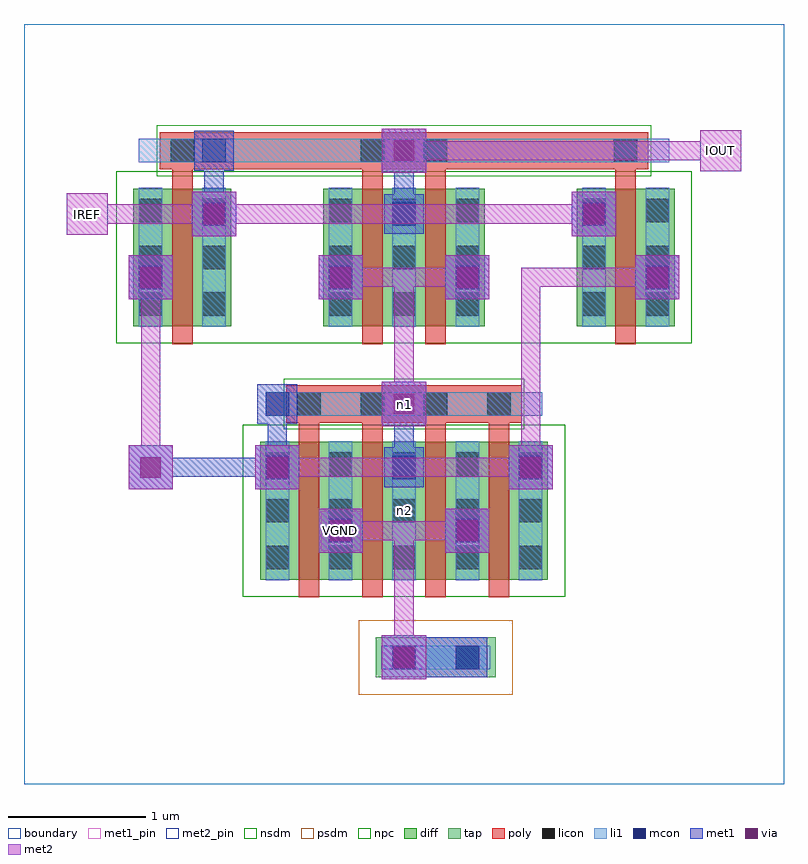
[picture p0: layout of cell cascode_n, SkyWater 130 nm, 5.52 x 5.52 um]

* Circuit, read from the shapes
.subckt cascode_n IOUT IREF VGND n1 n2
XM1 IREF IREF n1 VGND sky130_fd_pr__nfet_01v8 w=1 l=0.15 m=2
XM2 VGND n1 n1 VGND sky130_fd_pr__nfet_01v8 w=1 l=0.15 m=2
XM3 n2 n1 VGND VGND sky130_fd_pr__nfet_01v8 w=1 l=0.15 m=2
XM4 IOUT IREF n2 VGND sky130_fd_pr__nfet_01v8 w=1 l=0.15 m=2
.ends

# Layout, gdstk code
import gdstk
lib = gdstk.Library(unit=1e-6, precision=1e-09)
def R(c, l, rs):  # rectangles x0, y0, x1, y1
    for r in rs: c.add(gdstk.rectangle(r[:2], r[2:], *l))
def A(c, l, x, y, w, h, nx, ny, dx, dy):  # array of equal rectangles
    R(c, l, [(x+i*dx, y+j*dy, x+i*dx+w, y+j*dy+h) for i in range(nx) for j in range(ny)])
diff = (65, 20)
tap = (65, 44)
poly = (66, 20)
licon = (66, 44)
li1 = (67, 20)
mcon = (67, 44)
met1_pin = (68, 16)
met1 = (68, 20)
via = (68, 44)
met2_pin = (69, 16)
met2 = (69, 20)
nsdm = (93, 44)
psdm = (94, 20)
npc = (95, 20)
boundary = (235, 4)

cascode_n = lib.new_cell('cascode_n')
R(cascode_n, diff, [(1.715,1.485,3.805,2.485), (0.795,3.325,1.505,4.325), (2.175,3.325,3.345,4.325), (4.015,3.325,4.725,4.325)])
R(cascode_n, tap, [(2.555,0.775,3.425,1.065)])
A(cascode_n, poly, 1.995, 1.355, 0.15, 1.405, 4, 1, 0.46, 0)
R(cascode_n, poly, [(1.905,2.625,3.615,2.895), (1.075,3.195,1.225,4.6), (2.455,3.195,2.605,4.6), (2.915,3.195,3.065,4.6), (4.295,3.195,4.445,4.6), (0.985,4.465,4.535,4.735)])
A(cascode_n, licon, 1.755, 1.56, 0.17, 0.17, 5, 3, 0.46, 0.34)
A(cascode_n, licon, 1.985, 2.675, 0.17, 0.17, 4, 1, 0.46, 0)
A(cascode_n, licon, 0.835, 3.4, 0.17, 0.17, 1, 3, 0, 0.34)
A(cascode_n, licon, 1.295, 3.4, 0.17, 0.17, 1, 3, 0, 0.34)
A(cascode_n, licon, 2.215, 3.4, 0.17, 0.17, 3, 3, 0.46, 0.34)
A(cascode_n, licon, 4.055, 3.4, 0.17, 0.17, 1, 3, 0, 0.34)
A(cascode_n, licon, 4.515, 3.4, 0.17, 0.17, 1, 3, 0, 0.34)
R(cascode_n, licon, [(2.675,0.835,2.845,1.005), (3.135,0.835,3.305,1.005), (1.065,4.515,1.235,4.685), (2.445,4.515,2.615,4.685), (2.905,4.515,3.075,4.685), (4.285,4.515,4.455,4.685)])
A(cascode_n, li1, 1.755, 1.48, 0.17, 1.01, 5, 1, 0.46, 0)
A(cascode_n, li1, 2.215, 3.32, 0.17, 1.01, 3, 1, 0.46, 0)
R(cascode_n, li1, [(2.595,0.835,3.385,1.005), (1.755,2.675,3.765,2.845), (0.835,3.32,1.005,4.33), (1.295,3.32,1.465,4.33), (4.055,3.32,4.225,4.33), (4.515,3.32,4.685,4.33), (0.835,4.515,4.685,4.685)])
A(cascode_n, mcon, 1.755, 2.215, 0.17, 0.17, 3, 1, 0.92, 0)
A(cascode_n, mcon, 1.295, 4.055, 0.17, 0.17, 3, 1, 1.38, 0)
R(cascode_n, mcon, [(2.675,0.835,2.845,1.005), (3.135,0.835,3.305,1.005), (2.215,1.755,2.385,1.925), (3.135,1.755,3.305,1.925), (1.755,2.675,1.925,2.845), (0.835,3.595,1.005,3.765), (2.215,3.595,2.385,3.765), (3.135,3.595,3.305,3.765), (4.515,3.595,4.685,3.765), (1.295,4.515,1.465,4.685)])
R(cascode_n, met1_pin, [(2.155,1.695,2.445,1.985)])
A(cascode_n, met1, 2.6, 0.76, 0.32, 0.32, 1, 3, 0, 1.84)
A(cascode_n, met1, 1.695, 2.155, 0.29, 0.29, 3, 1, 0.92, 0)
A(cascode_n, met1, 1.235, 3.995, 0.29, 0.29, 3, 1, 1.38, 0)
R(cascode_n, met1, [(2.615,0.775,3.365,1.065), (2.69,0.85,2.83,0.99), (2.14,1.68,2.46,2), (3.06,1.68,3.38,2), (2.155,1.695,2.445,1.985), (3.075,1.695,3.365,1.985), (0.76,2.14,1.08,2.46), (1.68,2.14,2,2.46), (3.52,2.14,3.84,2.46), (0.85,2.23,1.91,2.37), (1.77,2.23,1.91,2.83), (2.69,2.23,2.83,2.83), (1.695,2.615,1.985,2.905), (0.76,3.52,1.08,3.84), (2.14,3.52,2.46,3.84), (3.06,3.52,3.38,3.84), (4.44,3.52,4.76,3.84), (0.775,3.535,1.065,3.825), (2.155,3.535,2.445,3.825), (3.075,3.535,3.365,3.825), (4.455,3.535,4.745,3.825), (1.22,3.98,1.54,4.3), (3.98,3.98,4.3,4.3), (1.31,4.07,1.45,4.67), (2.69,4.07,2.83,4.67), (1.235,4.455,1.525,4.745)])
A(cascode_n, via, 2.685, 0.845, 0.15, 0.15, 1, 3, 0, 1.84)
R(cascode_n, via, [(2.225,1.765,2.375,1.915), (3.145,1.765,3.295,1.915), (0.845,2.225,0.995,2.375), (1.765,2.225,1.915,2.375), (3.605,2.225,3.755,2.375), (0.845,3.605,0.995,3.755), (2.225,3.605,2.375,3.755), (3.145,3.605,3.295,3.755), (4.525,3.605,4.675,3.755), (1.305,4.065,1.455,4.215), (4.065,4.065,4.215,4.215)])
R(cascode_n, met2_pin, [(0.31,3.99,0.61,4.29), (4.91,4.45,5.21,4.75)])
A(cascode_n, met2, 2.6, 0.76, 0.32, 0.32, 1, 3, 0, 1.84)
R(cascode_n, met2, [(2.69,0.85,2.83,1.91), (2.14,1.68,2.46,2), (3.06,1.68,3.38,2), (2.23,1.77,3.29,1.91), (0.76,2.14,1.08,2.46), (1.68,2.14,2,2.46), (3.52,2.14,3.84,2.46), (0.85,2.23,0.99,3.75), (1.77,2.23,3.75,2.37), (3.61,2.23,3.75,3.75), (2.69,2.69,2.83,3.75), (0.76,3.52,1.08,3.84), (2.14,3.52,2.46,3.84), (3.06,3.52,3.38,3.84), (4.44,3.52,4.76,3.84), (2.23,3.61,2.83,3.75), (2.69,3.61,3.29,3.75), (3.61,3.61,4.67,3.75), (1.22,3.98,1.54,4.3), (3.98,3.98,4.3,4.3), (0.31,3.99,0.61,4.29), (0.39,4.07,1.45,4.21), (0.39,4.07,0.53,4.21), (1.31,4.07,4.21,4.21), (4.91,4.45,5.21,4.75), (2.69,4.53,5.13,4.67), (4.99,4.53,5.13,4.67)])
R(cascode_n, nsdm, [(1.59,1.36,3.93,2.61), (0.67,3.2,4.85,4.45)])
R(cascode_n, psdm, [(2.43,0.65,3.55,1.19)])
R(cascode_n, npc, [(1.885,2.575,3.635,2.945), (0.965,4.415,4.555,4.785)])
R(cascode_n, boundary, [(0,0,5.52,5.52)])
cascode_n.add(gdstk.Label('n1', (2.76,2.76), layer=67, texttype=5))
cascode_n.add(gdstk.Label('n2', (2.76,1.985), layer=67, texttype=5))
cascode_n.add(gdstk.Label('VGND', (2.3,1.84), layer=68, texttype=5))
cascode_n.add(gdstk.Label('IREF', (0.46,4.14), layer=69, texttype=5))
cascode_n.add(gdstk.Label('IOUT', (5.06,4.6), layer=69, texttype=5))
cascode_n.add(gdstk.Label('VGND', (2.3,1.84), layer=68, texttype=16))
cascode_n.add(gdstk.Label('IREF', (0.46,4.14), layer=69, texttype=16))
cascode_n.add(gdstk.Label('IOUT', (5.06,4.6), layer=69, texttype=16))

lib.write_gds('cascode_n.gds')
